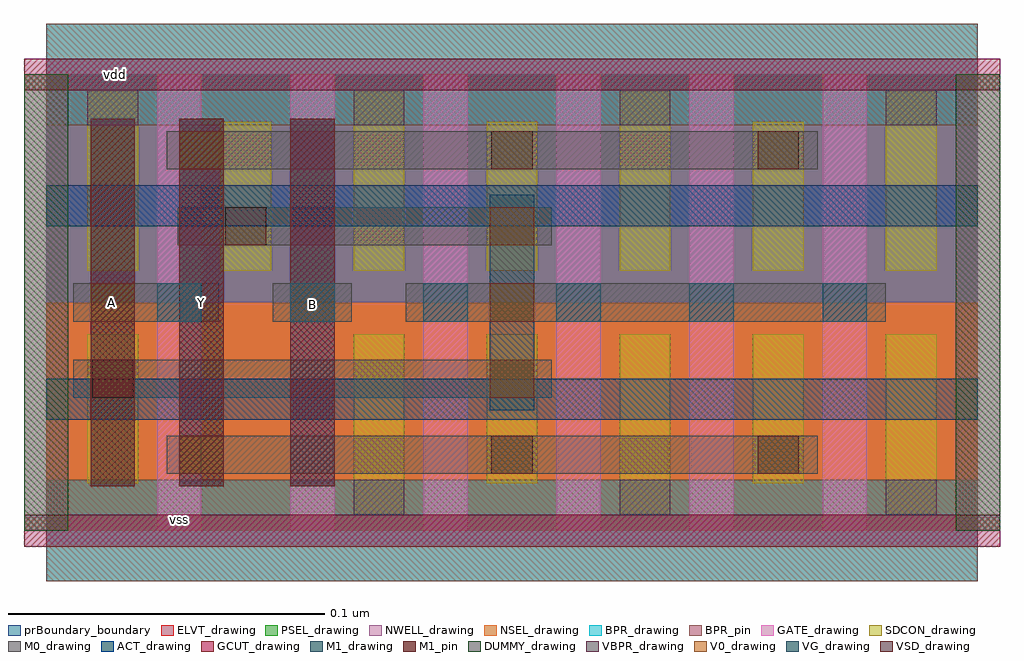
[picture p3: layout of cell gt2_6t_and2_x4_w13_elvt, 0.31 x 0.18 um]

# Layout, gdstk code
import gdstk
lib = gdstk.Library(unit=1e-6, precision=5e-10)
def R(c, l, rs):  # rectangles x0, y0, x1, y1
    for r in rs: c.add(gdstk.rectangle(r[:2], r[2:], *l))
def A(c, l, x, y, w, h, nx, ny, dx, dy):  # array of equal rectangles
    R(c, l, [(x+i*dx, y+j*dy, x+i*dx+w, y+j*dy+h) for i in range(nx) for j in range(ny)])
NWELL_drawing = (1, 0)
ACT_drawing = (2, 0)
GATE_drawing = (3, 0)
DUMMY_drawing = (4, 0)
GCUT_drawing = (5, 0)
NSEL_drawing = (6, 0)
PSEL_drawing = (7, 0)
BPR_drawing = (8, 0)
BPR_pin = (8, 251)
VBPR_drawing = (9, 0)
SDCON_drawing = (10, 0)
VSD_drawing = (11, 0)
VG_drawing = (12, 0)
M0_drawing = (20, 0)
V0_drawing = (22, 0)
M1_drawing = (25, 0)
M1_pin = (25, 251)
ELVT_drawing = (94, 0)
prBoundary_boundary = (235, 250)

gt2_6t_and2_x4_w13_elvt = lib.new_cell('gt2_6t_and2_x4_w13_elvt')
R(gt2_6t_and2_x4_w13_elvt, NWELL_drawing, [(0,0.072,0.294,0.144)])
R(gt2_6t_and2_x4_w13_elvt, ACT_drawing, [(0,0.035,0.294,0.048), (0,0.096,0.294,0.109)])
A(gt2_6t_and2_x4_w13_elvt, GATE_drawing, -0.007, 0, 0.014, 0.144, 8, 1, 0.042, 0)
R(gt2_6t_and2_x4_w13_elvt, DUMMY_drawing, [(-0.007,0,0.007,0.144), (0.287,0,0.301,0.144)])
R(gt2_6t_and2_x4_w13_elvt, GCUT_drawing, [(-0.007,-0.005,0.301,0.005), (-0.007,0.139,0.301,0.149)])
R(gt2_6t_and2_x4_w13_elvt, NSEL_drawing, [(0,0,0.294,0.072)])
R(gt2_6t_and2_x4_w13_elvt, PSEL_drawing, [(0,0.072,0.294,0.144)])
R(gt2_6t_and2_x4_w13_elvt, BPR_drawing, [(0,-0.016,0.294,0.016), (0,0.128,0.294,0.16)])
R(gt2_6t_and2_x4_w13_elvt, BPR_pin, [(0,-0.016,0.294,0.016), (0,0.128,0.294,0.16)])
A(gt2_6t_and2_x4_w13_elvt, VBPR_drawing, 0.097, 0.005, 0.016, 0.011, 3, 1, 0.084, 0)
A(gt2_6t_and2_x4_w13_elvt, VBPR_drawing, 0.013, 0.128, 0.016, 0.011, 4, 1, 0.084, 0)
A(gt2_6t_and2_x4_w13_elvt, SDCON_drawing, 0.097, 0.005, 0.016, 0.057, 3, 1, 0.084, 0)
A(gt2_6t_and2_x4_w13_elvt, SDCON_drawing, 0.013, 0.082, 0.016, 0.057, 4, 1, 0.084, 0)
A(gt2_6t_and2_x4_w13_elvt, SDCON_drawing, 0.055, 0.082, 0.016, 0.047, 3, 1, 0.084, 0)
R(gt2_6t_and2_x4_w13_elvt, SDCON_drawing, [(0.013,0.015,0.029,0.062), (0.139,0.015,0.155,0.062), (0.223,0.015,0.239,0.062)])
R(gt2_6t_and2_x4_w13_elvt, VSD_drawing, [(0.1405,0.018,0.1535,0.03), (0.2245,0.018,0.2375,0.03), (0.0145,0.042,0.0275,0.054), (0.0565,0.09,0.0695,0.102), (0.1405,0.114,0.1535,0.126), (0.2245,0.114,0.2375,0.126)])
A(gt2_6t_and2_x4_w13_elvt, VG_drawing, 0.035, 0.066, 0.014, 0.012, 6, 1, 0.042, 0)
R(gt2_6t_and2_x4_w13_elvt, M0_drawing, [(0.038,0.018,0.2435,0.03), (0.0085,0.042,0.1595,0.054), (0.0085,0.066,0.0545,0.078), (0.0715,0.066,0.0965,0.078), (0.1135,0.066,0.265,0.078), (0.0415,0.09,0.1595,0.102), (0.038,0.114,0.2435,0.126)])
A(gt2_6t_and2_x4_w13_elvt, V0_drawing, 0.014, 0.066, 0.014, 0.012, 3, 1, 0.063, 0)
R(gt2_6t_and2_x4_w13_elvt, V0_drawing, [(0.042,0.018,0.056,0.03), (0.14,0.042,0.154,0.054), (0.14,0.09,0.154,0.102), (0.042,0.114,0.056,0.126)])
R(gt2_6t_and2_x4_w13_elvt, M1_drawing, [(0.014,0.014,0.028,0.13), (0.042,0.014,0.056,0.13), (0.077,0.014,0.091,0.13), (0.14,0.038,0.154,0.106)])
R(gt2_6t_and2_x4_w13_elvt, M1_pin, [(0.014,0.014,0.028,0.13), (0.042,0.014,0.056,0.13), (0.077,0.014,0.091,0.13)])
R(gt2_6t_and2_x4_w13_elvt, ELVT_drawing, [(0,0,0.294,0.144)])
R(gt2_6t_and2_x4_w13_elvt, prBoundary_boundary, [(0,0,0.294,0.144)])
gt2_6t_and2_x4_w13_elvt.add(gdstk.Label('vdd', (0.022,0.144), layer=8, texttype=251))
gt2_6t_and2_x4_w13_elvt.add(gdstk.Label('vss', (0.042,0.0035), layer=8, texttype=251))
gt2_6t_and2_x4_w13_elvt.add(gdstk.Label('A', (0.0205,0.072), layer=25, texttype=251))
gt2_6t_and2_x4_w13_elvt.add(gdstk.Label('B', (0.084,0.0715), layer=25, texttype=251))
gt2_6t_and2_x4_w13_elvt.add(gdstk.Label('Y', (0.049,0.072), layer=25, texttype=251))

lib.write_gds('gt2_6t_and2_x4_w13_elvt.gds')
